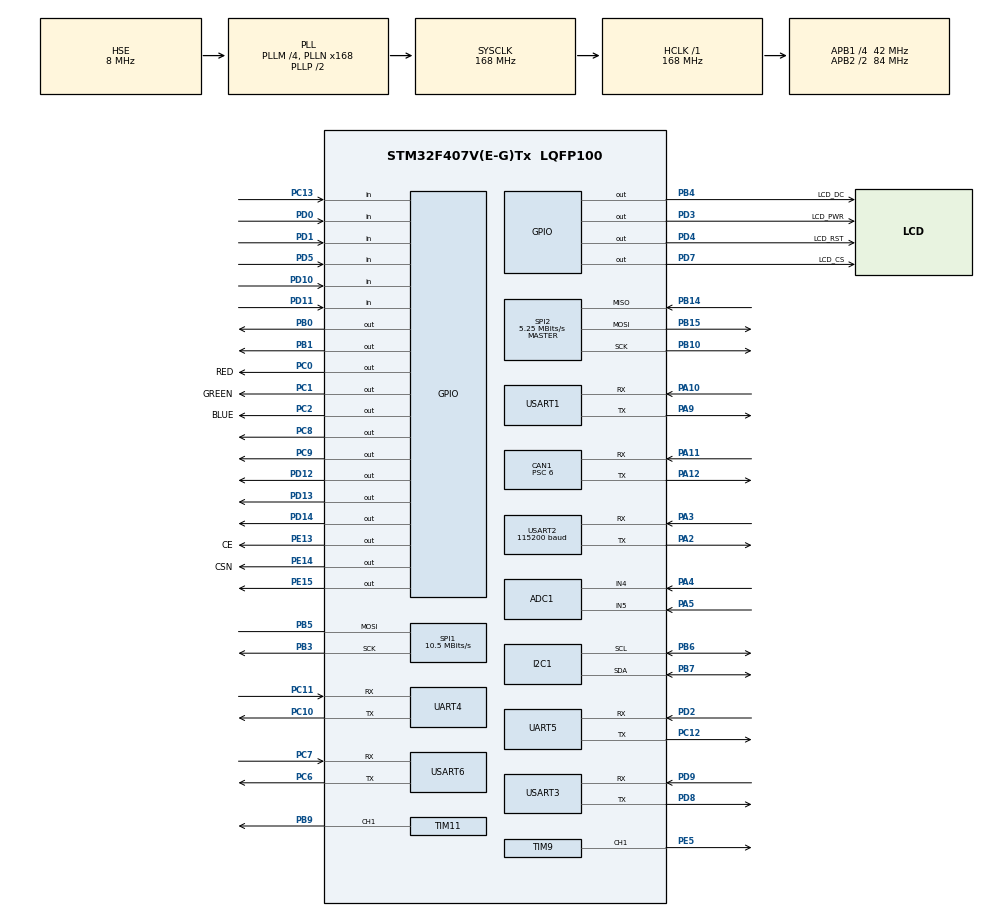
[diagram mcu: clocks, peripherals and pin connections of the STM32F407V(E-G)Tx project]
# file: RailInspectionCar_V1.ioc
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ADC1.Channel-0\#ChannelRegularConversion=ADC_CHANNEL_4
ADC1.Channel-1\#ChannelRegularConversion=ADC_CHANNEL_5
ADC1.ClockPrescaler=ADC_CLOCK_SYNC_PCLK_DIV6
ADC1.ContinuousConvMode=ENABLE
ADC1.InjNumberOfConversion=0
ADC1.NbrOfConversion=2
ADC1.NbrOfConversionFlag=1
ADC1.Rank-0\#ChannelRegularConversion=1
ADC1.Rank-1\#ChannelRegularConversion=2
ADC1.SamplingTime-0\#ChannelRegularConversion=ADC_SAMPLETIME_84CYCLES
ADC1.SamplingTime-1\#ChannelRegularConversion=ADC_SAMPLETIME_84CYCLES
ADC1.ScanConvMode=ENABLE
ADC1.master=1
CAN1.BS1=CAN_BS1_11TQ
CAN1.BS2=CAN_BS2_2TQ
CAN1.CalculateBaudRate=500000
CAN1.CalculateTimeBit=2000
CAN1.CalculateTimeQuantum=142.85714285714286
CAN1.AutoRetransmission=ENABLE
CAN1.Prescaler=6
CAN1.SJW=CAN_SJW_1TQ
Dma.Request0=USART2_RX
Dma.Request1=USART2_TX
Dma.Request2=USART1_TX
Dma.Request3=SPI2_RX
Dma.Request4=SPI2_TX
Dma.Request5=UART5_RX
Dma.Request6=UART5_TX
Dma.Request7=SPI1_TX
Dma.Request8=USART1_RX
Dma.SPI1_TX.7.Direction=DMA_MEMORY_TO_PERIPH
Dma.SPI1_TX.7.FIFOMode=DMA_FIFOMODE_DISABLE
Dma.SPI1_TX.7.Instance=DMA2_Stream3
Dma.SPI1_TX.7.MemDataAlignment=DMA_MDATAALIGN_BYTE
Dma.SPI1_TX.7.MemInc=DMA_MINC_ENABLE
Dma.SPI1_TX.7.Mode=DMA_NORMAL
Dma.SPI1_TX.7.PeriphDataAlignment=DMA_PDATAALIGN_BYTE
Dma.SPI1_TX.7.PeriphInc=DMA_PINC_DISABLE
Dma.SPI1_TX.7.Priority=DMA_PRIORITY_LOW
Dma.SPI2_RX.3.Direction=DMA_PERIPH_TO_MEMORY
Dma.SPI2_RX.3.FIFOMode=DMA_FIFOMODE_DISABLE
Dma.SPI2_RX.3.Instance=DMA1_Stream3
Dma.SPI2_RX.3.MemDataAlignment=DMA_MDATAALIGN_BYTE
Dma.SPI2_RX.3.MemInc=DMA_MINC_ENABLE
Dma.SPI2_RX.3.Mode=DMA_NORMAL
Dma.SPI2_RX.3.PeriphDataAlignment=DMA_PDATAALIGN_BYTE
Dma.SPI2_RX.3.PeriphInc=DMA_PINC_DISABLE
Dma.SPI2_RX.3.Priority=DMA_PRIORITY_LOW
Dma.SPI2_TX.4.Direction=DMA_MEMORY_TO_PERIPH
Dma.SPI2_TX.4.FIFOMode=DMA_FIFOMODE_DISABLE
Dma.SPI2_TX.4.Instance=DMA1_Stream4
Dma.SPI2_TX.4.MemDataAlignment=DMA_MDATAALIGN_BYTE
Dma.SPI2_TX.4.MemInc=DMA_MINC_ENABLE
Dma.SPI2_TX.4.Mode=DMA_NORMAL
Dma.SPI2_TX.4.PeriphDataAlignment=DMA_PDATAALIGN_BYTE
Dma.SPI2_TX.4.PeriphInc=DMA_PINC_DISABLE
Dma.SPI2_TX.4.Priority=DMA_PRIORITY_LOW
Dma.UART5_RX.5.Direction=DMA_PERIPH_TO_MEMORY
Dma.UART5_RX.5.FIFOMode=DMA_FIFOMODE_DISABLE
Dma.UART5_RX.5.Instance=DMA1_Stream0
Dma.UART5_RX.5.MemDataAlignment=DMA_MDATAALIGN_BYTE
Dma.UART5_RX.5.MemInc=DMA_MINC_ENABLE
Dma.UART5_RX.5.Mode=DMA_CIRCULAR
Dma.UART5_RX.5.PeriphDataAlignment=DMA_PDATAALIGN_BYTE
Dma.UART5_RX.5.PeriphInc=DMA_PINC_DISABLE
Dma.UART5_RX.5.Priority=DMA_PRIORITY_LOW
Dma.UART5_TX.6.Direction=DMA_MEMORY_TO_PERIPH
Dma.UART5_TX.6.FIFOMode=DMA_FIFOMODE_DISABLE
Dma.UART5_TX.6.Instance=DMA1_Stream7
Dma.UART5_TX.6.MemDataAlignment=DMA_MDATAALIGN_BYTE
Dma.UART5_TX.6.MemInc=DMA_MINC_ENABLE
Dma.UART5_TX.6.Mode=DMA_NORMAL
Dma.UART5_TX.6.PeriphDataAlignment=DMA_PDATAALIGN_BYTE
Dma.UART5_TX.6.PeriphInc=DMA_PINC_DISABLE
Dma.UART5_TX.6.Priority=DMA_PRIORITY_LOW
Dma.USART1_TX.2.Direction=DMA_MEMORY_TO_PERIPH
Dma.USART1_TX.2.FIFOMode=DMA_FIFOMODE_DISABLE
Dma.USART1_TX.2.Instance=DMA2_Stream7
Dma.USART1_TX.2.MemDataAlignment=DMA_MDATAALIGN_BYTE
Dma.USART1_TX.2.MemInc=DMA_MINC_ENABLE
Dma.USART1_TX.2.Mode=DMA_NORMAL
Dma.USART1_TX.2.PeriphDataAlignment=DMA_PDATAALIGN_BYTE
Dma.USART1_TX.2.PeriphInc=DMA_PINC_DISABLE
Dma.USART1_TX.2.Priority=DMA_PRIORITY_LOW
Dma.USART1_RX.8.Direction=DMA_PERIPH_TO_MEMORY
Dma.USART1_RX.8.FIFOMode=DMA_FIFOMODE_DISABLE
Dma.USART1_RX.8.Instance=DMA2_Stream2
Dma.USART1_RX.8.MemDataAlignment=DMA_MDATAALIGN_BYTE
Dma.USART1_RX.8.MemInc=DMA_MINC_ENABLE
Dma.USART1_RX.8.Mode=DMA_CIRCULAR
Dma.USART1_RX.8.PeriphDataAlignment=DMA_PDATAALIGN_BYTE
Dma.USART1_RX.8.PeriphInc=DMA_PINC_DISABLE
Dma.USART1_RX.8.Priority=DMA_PRIORITY_LOW
Dma.USART2_RX.0.Direction=DMA_PERIPH_TO_MEMORY
Dma.USART2_RX.0.FIFOMode=DMA_FIFOMODE_DISABLE
Dma.USART2_RX.0.Instance=DMA1_Stream5
Dma.USART2_RX.0.MemDataAlignment=DMA_MDATAALIGN_BYTE
Dma.USART2_RX.0.MemInc=DMA_MINC_ENABLE
Dma.USART2_RX.0.Mode=DMA_CIRCULAR
Dma.USART2_RX.0.PeriphDataAlignment=DMA_PDATAALIGN_BYTE
Dma.USART2_RX.0.PeriphInc=DMA_PINC_DISABLE
Dma.USART2_RX.0.Priority=DMA_PRIORITY_LOW
Dma.USART2_TX.1.Direction=DMA_MEMORY_TO_PERIPH
Dma.USART2_TX.1.FIFOMode=DMA_FIFOMODE_DISABLE
Dma.USART2_TX.1.Instance=DMA1_Stream6
Dma.USART2_TX.1.MemDataAlignment=DMA_MDATAALIGN_BYTE
Dma.USART2_TX.1.MemInc=DMA_MINC_ENABLE
Dma.USART2_TX.1.Mode=DMA_NORMAL
Dma.USART2_TX.1.PeriphDataAlignment=DMA_PDATAALIGN_BYTE
Dma.USART2_TX.1.PeriphInc=DMA_PINC_DISABLE
Dma.USART2_TX.1.Priority=DMA_PRIORITY_LOW
FREERTOS.Tasks01=defaultTask,24,128,StartDefaultTask,Default,NULL,Dynamic,NULL,NULL
FREERTOS.configTOTAL_HEAP_SIZE=40960
IWDG.Prescaler=IWDG_PRESCALER_16
IWDG.Reload=2000
Mcu.Family=STM32F4
Mcu.Name=STM32F407V(E-G)Tx
Mcu.Package=LQFP100
NVIC.CAN1_RX0_IRQn=true\:6\:0\:false\:false\:true\:true\:false\:true\:true
NVIC.CAN1_RX1_IRQn=true\:6\:0\:false\:false\:true\:true\:false\:true\:true
NVIC.CAN1_SCE_IRQn=true\:6\:0\:false\:false\:true\:true\:false\:true\:true
NVIC.CAN1_TX_IRQn=true\:6\:0\:false\:false\:true\:true\:false\:true\:true
NVIC.DMA1_Stream0_IRQn=true\:5\:0\:false\:false\:true\:true\:false\:true\:true
NVIC.DMA1_Stream3_IRQn=true\:6\:0\:false\:false\:true\:true\:false\:true\:true
NVIC.DMA1_Stream4_IRQn=true\:6\:0\:false\:false\:true\:true\:false\:true\:true
NVIC.DMA1_Stream5_IRQn=true\:5\:0\:false\:false\:true\:true\:false\:true\:true
NVIC.DMA1_Stream6_IRQn=true\:5\:0\:false\:false\:true\:true\:false\:true\:true
NVIC.DMA1_Stream7_IRQn=true\:5\:0\:false\:false\:true\:true\:false\:true\:true
NVIC.DMA2_Stream3_IRQn=true\:6\:0\:false\:false\:true\:false\:false\:true\:true
NVIC.DMA2_Stream2_IRQn=true\:6\:0\:false\:false\:true\:true\:false\:true\:true
NVIC.DMA2_Stream7_IRQn=true\:6\:0\:false\:false\:true\:true\:false\:true\:true
NVIC.PriorityGroup=NVIC_PRIORITYGROUP_4
NVIC.TIM1_BRK_TIM9_IRQn=true\:4\:0\:false\:false\:true\:true\:false\:true\:true
NVIC.TIM1_TRG_COM_TIM11_IRQn=true\:4\:0\:false\:false\:true\:true\:false\:true\:true
NVIC.TIM1_UP_TIM10_IRQn=true\:5\:0\:false\:false\:true\:false\:false\:true\:true
NVIC.TIM2_IRQn=true\:5\:0\:false\:false\:true\:true\:true\:true\:true
NVIC.TimeBase=TIM1_UP_TIM10_IRQn
NVIC.TimeBaseIP=TIM1
NVIC.UART4_IRQn=true\:5\:0\:false\:false\:true\:true\:true\:true\:true
NVIC.UART5_IRQn=true\:5\:0\:false\:false\:true\:true\:true\:true\:true
NVIC.USART1_IRQn=true\:6\:0\:false\:false\:true\:true\:true\:true\:true
NVIC.USART2_IRQn=true\:5\:0\:false\:false\:true\:true\:true\:true\:true
NVIC.USART3_IRQn=true\:5\:0\:false\:false\:true\:true\:true\:true\:true
NVIC.USART6_IRQn=true\:5\:0\:false\:false\:true\:true\:true\:true\:true
PA10.Mode=Asynchronous
PA10.Signal=USART1_RX
PA11.Mode=CAN_Activate
PA11.Signal=CAN1_RX
PA12.Mode=CAN_Activate
PA12.Signal=CAN1_TX
PA13.Mode=Serial_Wire
PA13.Signal=SYS_JTMS-SWDIO
PA14.Mode=Serial_Wire
PA14.Signal=SYS_JTCK-SWCLK
PA2.Mode=Asynchronous
PA2.Signal=USART2_TX
PA3.Mode=Asynchronous
PA3.Signal=USART2_RX
PA4.Signal=ADCx_IN4
PA5.Signal=ADCx_IN5
PA9.Mode=Asynchronous
PA9.Signal=USART1_TX
PB0.PinState=GPIO_PIN_SET
PB0.Signal=GPIO_Output
PB1.PinState=GPIO_PIN_SET
PB1.Signal=GPIO_Output
PB10.Mode=Full_Duplex_Master
PB10.Signal=SPI2_SCK
PB14.Mode=Full_Duplex_Master
PB14.Signal=SPI2_MISO
PB15.Mode=Full_Duplex_Master
PB15.Signal=SPI2_MOSI
PB3.GPIO_PuPd=GPIO_PULLUP
PB3.Mode=Simplex_Bidirectional_Master
PB3.Signal=SPI1_SCK
PB4.GPIO_Label=LCD_DC
PB4.GPIO_PuPd=GPIO_PULLUP
PB4.Signal=GPIO_Output
PB5.GPIO_PuPd=GPIO_PULLUP
PB5.Mode=Simplex_Bidirectional_Master
PB5.Signal=SPI1_MOSI
PB6.Mode=I2C
PB6.Signal=I2C1_SCL
PB7.Mode=I2C
PB7.Signal=I2C1_SDA
PB9.Signal=S_TIM11_CH1
PC0.GPIO_Label=RED
PC0.PinState=GPIO_PIN_SET
PC0.Signal=GPIO_Output
PC1.GPIO_Label=GREEN
PC1.PinState=GPIO_PIN_SET
PC1.Signal=GPIO_Output
PC10.Mode=Asynchronous
PC10.Signal=UART4_TX
PC11.Mode=Asynchronous
PC11.Signal=UART4_RX
PC12.Mode=Asynchronous
PC12.Signal=UART5_TX
PC13-ANTI_TAMP.GPIO_PuPd=GPIO_PULLUP
PC13-ANTI_TAMP.Signal=GPIO_Input
PC2.GPIO_Label=BLUE
PC2.PinState=GPIO_PIN_SET
PC2.Signal=GPIO_Output
PC6.Mode=Asynchronous
PC6.Signal=USART6_TX
PC7.Mode=Asynchronous
PC7.Signal=USART6_RX
PC8.Signal=GPIO_Output
PC9.PinState=GPIO_PIN_SET
PC9.Signal=GPIO_Output
PD0.GPIO_Mode=GPIO_MODE_INPUT
PD0.GPIO_PuPd=GPIO_PULLUP
PD0.Signal=GPIO_Input
PD1.GPIO_Mode=GPIO_MODE_INPUT
PD1.GPIO_PuPd=GPIO_PULLUP
PD1.Signal=GPIO_Input
PD10.GPIO_Mode=GPIO_MODE_INPUT
PD10.GPIO_PuPd=GPIO_PULLUP
PD10.Signal=GPIO_Input
PD11.GPIO_Mode=GPIO_MODE_INPUT
PD11.GPIO_PuPd=GPIO_PULLUP
PD11.Signal=GPIO_Input
PD12.Signal=GPIO_Output
PD13.Signal=GPIO_Output
PD14.Signal=GPIO_Output
PD2.Mode=Asynchronous
PD2.Signal=UART5_RX
PD3.GPIO_Label=LCD_PWR
PD3.Signal=GPIO_Output
PD4.GPIO_Label=LCD_RST
PD4.Signal=GPIO_Output
PD5.GPIO_Mode=GPIO_MODE_INPUT
PD5.GPIO_PuPd=GPIO_PULLUP
PD5.Signal=GPIO_Input
PD7.GPIO_Label=LCD_CS
PD7.GPIO_PuPd=GPIO_PULLUP
PD7.PinState=GPIO_PIN_RESET
PD7.Signal=GPIO_Output
PD8.Mode=Asynchronous
PD8.Signal=USART3_TX
PD9.Mode=Asynchronous
PD9.Signal=USART3_RX
PE13.GPIO_Label=CE
PE13.GPIO_ModeDefaultOutputPP=GPIO_MODE_OUTPUT_PP
PE13.GPIO_PuPd=GPIO_NOPULL
PE13.GPIO_Speed=GPIO_SPEED_FREQ_LOW
PE13.PinState=GPIO_PIN_RESET
PE13.Signal=GPIO_Output
PE14.GPIO_Label=CSN
PE14.GPIO_ModeDefaultOutputPP=GPIO_MODE_OUTPUT_PP
PE14.GPIO_PuPd=GPIO_NOPULL
PE14.GPIO_Speed=GPIO_SPEED_FREQ_LOW
PE14.PinState=GPIO_PIN_SET
PE14.Signal=GPIO_Output
PE15.PinState=GPIO_PIN_SET
PE15.Signal=GPIO_Output
PE5.Signal=S_TIM9_CH1
PH0-OSC_IN.Mode=HSE-External-Oscillator
PH0-OSC_IN.Signal=RCC_OSC_IN
PH1-OSC_OUT.Mode=HSE-External-Oscillator
PH1-OSC_OUT.Signal=RCC_OSC_OUT
ProjectManager.HeapSize=0x200
ProjectManager.StackSize=0x400
ProjectManager.TargetToolchain=MDK-ARM V5.32
RCC.48MHZClocksFreq_Value=84000000
RCC.AHBFreq_Value=168000000
RCC.APB1CLKDivider=RCC_HCLK_DIV4
RCC.APB1Freq_Value=42000000
RCC.APB1TimFreq_Value=84000000
RCC.APB2CLKDivider=RCC_HCLK_DIV2
RCC.APB2Freq_Value=84000000
RCC.APB2TimFreq_Value=168000000
RCC.CortexFreq_Value=168000000
RCC.HCLKFreq_Value=168000000
RCC.HSE_VALUE=8000000
RCC.HSI_VALUE=16000000
RCC.LSE_VALUE=32768
RCC.PLLM=4
RCC.PLLN=168
RCC.PLLSourceVirtual=RCC_PLLSOURCE_HSE
RCC.SYSCLKFreq_VALUE=168000000
RCC.SYSCLKSource=RCC_SYSCLKSOURCE_PLLCLK
RCC.VCOOutputFreq_Value=336000000
SH.ADCx_IN4.0=ADC1_IN4,IN4
SH.ADCx_IN5.0=ADC1_IN5,IN5
SH.S_TIM11_CH1.0=TIM11_CH1,PWM Generation1 CH1
SH.S_TIM9_CH1.0=TIM9_CH1,PWM Generation1 CH1
SPI1.BaudRatePrescaler=SPI_BAUDRATEPRESCALER_8
SPI1.CLKPhase=SPI_PHASE_2EDGE
SPI1.CLKPolarity=SPI_POLARITY_HIGH
SPI1.CalculateBaudRate=10.5 MBits/s
SPI1.Direction=SPI_DIRECTION_1LINE
SPI1.Mode=SPI_MODE_MASTER
SPI1.VirtualType=VM_MASTER
SPI2.BaudRatePrescaler=SPI_BAUDRATEPRESCALER_8
SPI2.CalculateBaudRate=5.25 MBits/s
SPI2.Direction=SPI_DIRECTION_2LINES
SPI2.Mode=SPI_MODE_MASTER
SPI2.VirtualType=VM_MASTER
TIM11.AutoReloadPreload=TIM_AUTORELOAD_PRELOAD_ENABLE
TIM11.Channel=TIM_CHANNEL_1
TIM11.Period=1000-1
TIM11.Prescaler=336-1
TIM11.Pulse=0
TIM2.Period=1750-1
TIM2.Prescaler=84-1
TIM9.AutoReloadPreload=TIM_AUTORELOAD_PRELOAD_ENABLE
TIM9.Channel-PWM\ Generation1\ CH1=TIM_CHANNEL_1
TIM9.Period=1000-1
TIM9.Prescaler=336-1
TIM9.Pulse-PWM\ Generation1\ CH1=0
UART4.VirtualMode=Asynchronous
UART5.VirtualMode=Asynchronous
USART1.VirtualMode=VM_ASYNC
USART2.BaudRate=115200
USART2.VirtualMode=VM_ASYNC
USART3.VirtualMode=VM_ASYNC
USART6.VirtualMode=VM_ASYNC
VP_FREERTOS_VS_CMSIS_V2.Mode=CMSIS_V2
VP_IWDG_VS_IWDG.Mode=IWDG_Activate
VP_SYS_VS_tim1.Mode=TIM1
VP_TIM11_VS_ClockSourceINT.Mode=Enable_Timer
VP_TIM2_VS_ClockSourceINT.Mode=Internal
VP_TIM9_VS_ClockSourceINT.Mode=Internal
board=custom

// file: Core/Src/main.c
/* USER CODE BEGIN Header */
/**
  ******************************************************************************
  * @file           : main.c
  * @brief          : Main program body
  ******************************************************************************
  * @attention
  *
  * Copyright (c) 2026 STMicroelectronics.
  * All rights reserved.
  *
  * This software is licensed under terms that can be found in the LICENSE file
  * in the root directory of this software component.
  * If no LICENSE file comes with this software, it is provided AS-IS.
  *
  ******************************************************************************
  */
/* USER CODE END Header */
#include "main.h"
#include "cmsis_os.h"
#include "adc.h"
#include "can.h"
#include "dma.h"
#include "i2c.h"
#include "iwdg.h"
#include "spi.h"
#include "tim.h"
#include "usart.h"
#include "gpio.h"

/* USER CODE BEGIN Includes */
#include "app_rtos_create.h"
#include "app_health.h"
#include "app_lcd_show.h"
#include "led.h"
#include "bsp_system.h"
#include "app_runtime_metrics.h"
#include "bsp_hmi_uart.h"
/* USER CODE END Includes */

void SystemClock_Config(void);
void MX_FREERTOS_Init(void);

int main(void)
{

  /* MCU Configuration--------------------------------------------------------*/

  /* Reset of all peripherals, Initializes the Flash interface and the Systick. */
  HAL_Init();

  /* USER CODE BEGIN Init */
  /* 在外设和任务初始化之前保存本次复位原因，仅读取一次。 */
  (void)bsp_system_take_reset_reason();
  /* USER CODE END Init */

  /* Configure the system clock */
  SystemClock_Config();

  /* USER CODE BEGIN SysInit */
  app_runtime_init();

  /* USER CODE END SysInit */

  /* Initialize all configured peripherals */
  MX_GPIO_Init();
  MX_DMA_Init();
  MX_USART1_UART_Init();
  MX_USART2_UART_Init();
  MX_ADC1_Init();
  MX_CAN1_Init();
  MX_I2C1_Init();
#if APP_CHASSIS_LCD_ENABLED
  MX_SPI1_Init();
#endif
  MX_SPI2_Init();
#if APP_SERVO_PULSE_ENABLED
  MX_TIM11_Init();
#endif
  MX_UART4_Init();
  MX_UART5_Init();
  MX_USART3_UART_Init();
  MX_USART6_UART_Init();
#if APP_SERVO_PULSE_ENABLED
  MX_TIM9_Init();
#endif
  MX_IWDG_Init();
  MX_TIM2_Init();
  /* USER CODE BEGIN 2 */
  #if USE_MY_FREERTOS_INIT
       osKernelInitialize();
       app_init();
       freertos_taskstart();
       osKernelStart();
   #endif
   #if !USE_MY_FREERTOS_INIT
  /* USER CODE END 2 */

  /* Init scheduler */
  osKernelInitialize();  /* Call init function for freertos objects (in cmsis_os2.c) */
  MX_FREERTOS_Init();

  /* Start scheduler */
  osKernelStart();

  /* We should never get here as control is now taken by the scheduler */

  /* Infinite loop */
  /* USER CODE BEGIN WHILE */
  #endif
  while (1)
  {

    /* USER CODE END WHILE */

  }
}

void SystemClock_Config(void)
{
  RCC_OscInitTypeDef RCC_OscInitStruct = {0};
  RCC_ClkInitTypeDef RCC_ClkInitStruct = {0};

  /** Configure the main internal regulator output voltage
  */
  __HAL_RCC_PWR_CLK_ENABLE();
  __HAL_PWR_VOLTAGESCALING_CONFIG(PWR_REGULATOR_VOLTAGE_SCALE1);

  /** Initializes the RCC Oscillators according to the specified parameters
  * in the RCC_OscInitTypeDef structure.
  */
  RCC_OscInitStruct.OscillatorType = RCC_OSCILLATORTYPE_LSI|RCC_OSCILLATORTYPE_HSE;
  RCC_OscInitStruct.HSEState = RCC_HSE_ON;
  RCC_OscInitStruct.LSIState = RCC_LSI_ON;
  RCC_OscInitStruct.PLL.PLLState = RCC_PLL_ON;
  RCC_OscInitStruct.PLL.PLLSource = RCC_PLLSOURCE_HSE;
  RCC_OscInitStruct.PLL.PLLM = 4;
  RCC_OscInitStruct.PLL.PLLN = 168;
  RCC_OscInitStruct.PLL.PLLP = RCC_PLLP_DIV2;
  RCC_OscInitStruct.PLL.PLLQ = 4;
  if (HAL_RCC_OscConfig(&RCC_OscInitStruct) != HAL_OK)
  {
    Error_Handler();
  }

  /** Initializes the CPU, AHB and APB buses clocks
  */
  RCC_ClkInitStruct.ClockType = RCC_CLOCKTYPE_HCLK|RCC_CLOCKTYPE_SYSCLK
                              |RCC_CLOCKTYPE_PCLK1|RCC_CLOCKTYPE_PCLK2;
  RCC_ClkInitStruct.SYSCLKSource = RCC_SYSCLKSOURCE_PLLCLK;
  RCC_ClkInitStruct.AHBCLKDivider = RCC_SYSCLK_DIV1;
  RCC_ClkInitStruct.APB1CLKDivider = RCC_HCLK_DIV4;
  RCC_ClkInitStruct.APB2CLKDivider = RCC_HCLK_DIV2;

  if (HAL_RCC_ClockConfig(&RCC_ClkInitStruct, FLASH_LATENCY_5) != HAL_OK)
  {
    Error_Handler();
  }
}

void HAL_TIM_PeriodElapsedCallback(TIM_HandleTypeDef *htim)
{
  if (htim->Instance == TIM1)
  {
    HAL_IncTick();
  }
  /* USER CODE BEGIN Callback 1 */
  if (htim->Instance == TIM2) bsp_hmi_uart_quiet_isr();
  /* USER CODE END Callback 1 */
}

void Error_Handler(void)
{
  __disable_irq();
  while (1)
  {
  }
}
